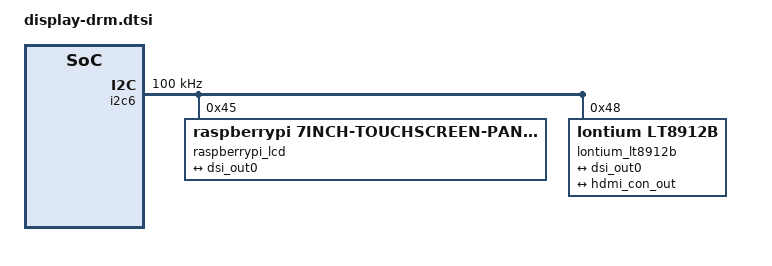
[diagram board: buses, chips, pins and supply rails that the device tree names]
// SPDX-License-Identifier: (GPL-2.0 OR MIT)
/* Copyright (c) 2018-2024 Sunplus */

/*
		hdmi: hdmi@7e902000 {
			compatible = "brcm,bcm2835-hdmi";
			reg = <0x7e902000 0x600>,
			      <0x7e808000 0x100>;
			interrupts = <2 8>, <2 9>;
			ddc = <&i2c2>;
			clocks = <&clocks BCM2835_PLLH_PIX>,
				 <&clocks BCM2835_CLOCK_HSM>;
			clock-names = "pixel", "hdmi";
			dmas = <&dma 17>;
			dma-names = "audio-rx";
			status = "disabled";
		};
		vc4: gpu {
			compatible = "brcm,bcm2835-vc4";
		};

		dsi1: dsi@7e700000 {
			compatible = "brcm,bcm2835-dsi1";
			reg = <0x7e700000 0x8c>;
			interrupts = <2 12>;
			#address-cells = <1>;
			#size-cells = <0>;
			#clock-cells = <1>;

			clocks = <&clocks BCM2835_PLLD_DSI1>,
				 <&clocks BCM2835_CLOCK_DSI1E>,
				 <&clocks BCM2835_CLOCK_DSI1P>;
			clock-names = "phy", "escape", "pixel";

			clock-output-names = "dsi1_byte",
					     "dsi1_ddr2",
					     "dsi1_ddr";

			status = "disabled";
		};
*/

/ {
	/* No compatible */

	drm_display_engine: drm {
		compatible = "sunplus,sp7350-display-engine";
		memory-region = <&drm_disp_reserve>;
		status = "disabled";
	};

	/* Display controller0 */
	crtc0: crtc0 {
		compatible = "sunplus,sp7350-crtc0";
		status = "disabled";

		port {
			crtc0_out: endpoint {
				remote-endpoint = <&dsi_in0>;
			};
		};
	};

	crtc1: crtc1 {
		compatible = "sunplus,example_crtc";
		status = "disabled";

		port {
			crtc1_out: endpoint {
				remote-endpoint = <&dsi_in_example>;
			};
		};
	};

	dsi0: dsi {
		compatible = "sunplus,sp7350-dsi0";
		//possible-crtcs = <&crtc0 &crtc1>;

		status = "disabled";

		ports {
			#address-cells = <1>;
			#size-cells = <0>;

			/* 0 for input port */
			port@0 {
				reg = <0>;
				dsi_in0: endpoint@0 {
					remote-endpoint = <&crtc0_out>;
				};
				dsi_in_example: endpoint@1 {
					remote-endpoint = <&crtc1_out>;
				};
			};
		};
	};
};

&i2c6 {
	i2c-sda-hold-time-ns = <2000>;
	clock-frequency = <100000>;

	#address-cells = <1>;
	#size-cells = <0>;

	raspberrypi_lcd: lcd@45 {
		//compatible = "raspberrypi,7inch-touchscreen-panel";
		compatible = "raspberrypi,7inch-touchscreen-panel-builtin";
		reg = <0x45>;
		port {
			panel_dsi_port: endpoint {
			remote-endpoint = <&dsi_out0>;
			};
		};
	};

	lontium_lt8912b: hdmi@48 {
		compatible = "lontium,lt8912b";
		//compatible = "lontium,lt8912b-builtin";
		reg = <0x48>;
		//reset-gpios = <&pctl 74 GPIO_ACTIVE_LOW>;
		#if defined(LT8912B_HDMI_480P) || defined(LT8912B_HDMI_480X272)
		hdmi-timing = <0x0>;
		#elif defined(LT8912B_HDMI_720P)
		hdmi-timing = <0x2>;
		#else
		hdmi-timing = <0x3>;
		#endif
		/*
		 * 0x0: 720x480
		 * 0x2: 1280x720
		 * 0x3: 1920x1080
		 */
		status = "okay";
		ports {
			#address-cells = <1>;
			#size-cells = <0>;
			port@0 {
				reg = <0>;
				lt8912b_in: endpoint {
					remote-endpoint = <&dsi_out0>;
					data-lanes = <1 2 3 4>;
				};
			};

			port@1 {
				reg = <1>;
				lt8912b_out: endpoint {
					remote-endpoint = <&hdmi_con_out>;
				};
			};
		};
	};
};

&display {
	sp7350,dev_name = "LT8912B-HDMI";
#if defined(LT8912B_HDMI_480X272)
	sp7350,osd0_layer = <0 0 480 272 0x8>; /* 0x8 = RGB565 */
	sp7350,vpp0_layer = <0 0 720 480 480 272 0x2>; /* 0x2 = YUY2 */
	sp7350,disp_output = <720 480 0x0>; /* 0x0:MIPITX DSI */
#elif defined(LT8912B_HDMI_480P)
	sp7350,osd0_layer = <0 0 720 480 0x8>; /* 0x8 = RGB565 */
	sp7350,osd1_layer = <0 0 720 480 0x8>; /* 0x8 = RGB565 */
	sp7350,osd2_layer = <0 0 720 480 0x8>; /* 0x8 = RGB565 */
	sp7350,osd3_layer = <0 0 720 480 0x8>; /* 0x8 = RGB565 */
	sp7350,vpp0_layer = <0 0 720 480 720 480 0x2>; /* 0x2 = YUY2 */
	sp7350,disp_output = <720 480 0x0>; /* 0x0:MIPITX DSI */
#elif defined(LT8912B_HDMI_720P)
	sp7350,osd0_layer = <0 0 1280 720 0x8>; /* 0x8 = RGB565 */
	sp7350,osd1_layer = <0 0 1280 720 0x8>; /* 0x8 = RGB565 */
	sp7350,osd2_layer = <0 0 1280 720 0x8>; /* 0x8 = RGB565 */
	sp7350,osd3_layer = <0 0 1280 720 0x8>; /* 0x8 = RGB565 */
	sp7350,vpp0_layer = <0 0 720 480 1280 720 0x2>; /* 0x2 = YUY2 */
	sp7350,disp_output = <1280 720 0x0>; /* 0x0:MIPITX DSI */
#else
	sp7350,osd0_layer = <0 0 1920 1080 0x8>; /* 0x8 = RGB565 */
	sp7350,osd1_layer = <0 0 1920 1080 0x8>; /* 0x8 = RGB565 */
	sp7350,osd2_layer = <0 0 1920 1080 0x8>; /* 0x8 = RGB565 */
	sp7350,osd3_layer = <0 0 1920 1080 0x8>; /* 0x8 = RGB565 */
	sp7350,vpp0_layer = <0 0 720 480 1920 1080 0x2>; /* 0x2 = YUY2 */
	sp7350,disp_output = <1920 1080 0x0>; /* 0x0:MIPITX DSI */
#endif
	sp7350,disp_mipitx_lane = <0x4>; /* 0x0:MIPITX lane */
	sp7350,disp_mipitx_clk_edge = <0x0>; /* 0x0:Raising Edge */
	sp7350,disp_mipitx_sync_timing = <0x1>; /* 0x1:Sync Event */
	sp7350,disp_mipitx_format = <0x3>; /* 0x3:MIPITX DSI RGB888 */
};

